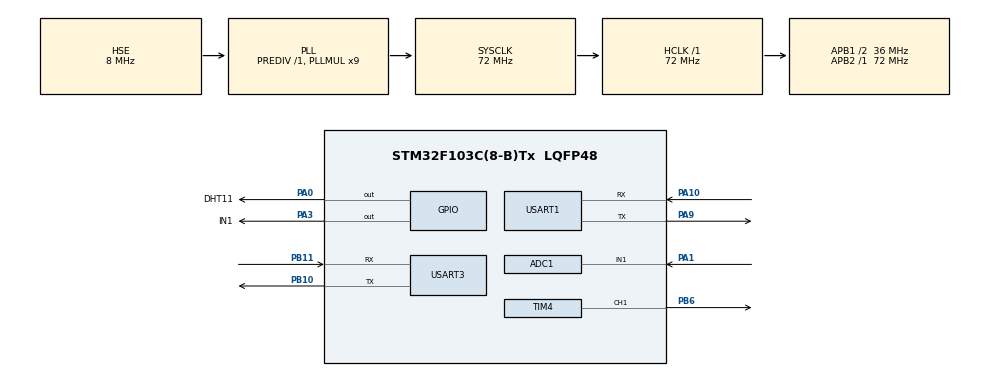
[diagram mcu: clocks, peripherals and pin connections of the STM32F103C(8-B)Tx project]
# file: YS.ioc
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ADC1.Channel-0\#ChannelRegularConversion=ADC_CHANNEL_1
ADC1.NbrOfConversionFlag=1
ADC1.Rank-0\#ChannelRegularConversion=1
ADC1.SamplingTime-0\#ChannelRegularConversion=ADC_SAMPLETIME_1CYCLE_5
ADC1.master=1
Mcu.Family=STM32F1
Mcu.Name=STM32F103C(8-B)Tx
Mcu.Package=LQFP48
NVIC.ADC1_2_IRQn=true\:0\:0\:false\:false\:true\:true\:true\:true
NVIC.PriorityGroup=NVIC_PRIORITYGROUP_4
NVIC.TIM4_IRQn=true\:0\:0\:false\:false\:true\:true\:true\:true
NVIC.USART3_IRQn=true\:0\:0\:false\:false\:true\:true\:true\:true
PA0-WKUP.GPIO_Label=DHT11
PA0-WKUP.Signal=GPIO_Output
PA1.Signal=ADCx_IN1
PA10.Mode=Asynchronous
PA10.Signal=USART1_RX
PA3.GPIO_Label=IN1
PA3.PinState=GPIO_PIN_SET
PA3.Signal=GPIO_Output
PA9.Mode=Asynchronous
PA9.Signal=USART1_TX
PB10.Mode=Asynchronous
PB10.Signal=USART3_TX
PB11.Mode=Asynchronous
PB11.Signal=USART3_RX
PB6.Signal=S_TIM4_CH1
PC14-OSC32_IN.Mode=LSE-External-Oscillator
PC14-OSC32_IN.Signal=RCC_OSC32_IN
PC15-OSC32_OUT.Mode=LSE-External-Oscillator
PC15-OSC32_OUT.Signal=RCC_OSC32_OUT
PD0-OSC_IN.Mode=HSE-External-Oscillator
PD0-OSC_IN.Signal=RCC_OSC_IN
PD1-OSC_OUT.Mode=HSE-External-Oscillator
PD1-OSC_OUT.Signal=RCC_OSC_OUT
ProjectManager.HeapSize=0x200
ProjectManager.StackSize=0x400
ProjectManager.TargetToolchain=MDK-ARM V5.32
RCC.ADCPresc=RCC_ADCPCLK2_DIV6
RCC.AHBFreq_Value=72000000
RCC.APB1CLKDivider=RCC_HCLK_DIV2
RCC.APB1Freq_Value=36000000
RCC.APB1TimFreq_Value=72000000
RCC.APB2Freq_Value=72000000
RCC.APB2TimFreq_Value=72000000
RCC.HCLKFreq_Value=72000000
RCC.PLLMUL=RCC_PLL_MUL9
RCC.PLLSourceVirtual=RCC_PLLSOURCE_HSE
RCC.SYSCLKFreq_VALUE=72000000
RCC.SYSCLKSource=RCC_SYSCLKSOURCE_PLLCLK
RCC.USBFreq_Value=72000000
SH.ADCx_IN1.0=ADC1_IN1,IN1
SH.S_TIM4_CH1.0=TIM4_CH1,PWM Generation1 CH1
TIM4.Channel-PWM\ Generation1\ CH1=TIM_CHANNEL_1
TIM4.CounterMode=TIM_COUNTERMODE_UP
TIM4.Period=1000-1
TIM4.Prescaler=72-1
USART1.VirtualMode=VM_ASYNC
USART3.VirtualMode=VM_ASYNC
VP_SYS_VS_ND.Mode=No_Debug
VP_TIM4_VS_ClockSourceINT.Mode=Internal
board=custom

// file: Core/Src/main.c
/* USER CODE BEGIN Header */
/**
  ******************************************************************************
  * @file           : main.c
  * @brief          : 智能家居系统 - OneNET 云平台
  *                   温度(temp) + 光照(light) + 风扇(fan_speed) + 警报器(alarm)
  ******************************************************************************
  */
/* USER CODE END Header */
#include "main.h"
#include "adc.h"
#include "tim.h"
#include "usart.h"
#include "gpio.h"

/* USER CODE BEGIN Includes */
#include <string.h>
#include <stdio.h>
#include <stdlib.h>
#include "dht11.h"
#include "onenet.h"
/* USER CODE END Includes */

/* USER CODE BEGIN PD */

/* WiFi 配置 */
#define WIFI_SSID       "abc"
#define WIFI_PASSWORD   "abc123456"

/* 温度阈值 */
#define TEMP_THRESHOLD  30.0f

/* 上报间隔 (毫秒) */
#define REPORT_INTERVAL 3000

/* DHT11 返回值 */
#define DHT11_OK    0
#define DHT11_ERROR 1

/* USER CODE END PD */

/* USER CODE BEGIN PV */

uint8_t usart3_rx_buffer[500];
uint16_t usart3_rx_index = 0;
uint8_t usart3_rx_done = 0;

/* 连接状态 */
typedef enum {
    STATE_AT_TEST,
    STATE_SET_MODE,
    STATE_WAIT_WIFI,
    STATE_MQTT_USER,
    STATE_MQTT_CONN,
    STATE_MQTT_SUB,
    STATE_READY
} ConnectState;

ConnectState current_state = STATE_AT_TEST;
uint32_t last_report_time = 0;
uint32_t last_resub_time = 0;
#define RESUB_INTERVAL  30000  /* 每30秒重新订阅一次 */

/* ==================== 传感器数据 (只读) ==================== */
float    temperature = 0.0f;      /* 温度 temp (°C) */
uint16_t light_value = 0;         /* 光照 light (Lux) */

/* ==================== 设备控制 (读写) ==================== */
int16_t  fan_speed = 0;           /* 风扇转速 fan_speed (0-1000 r/min) */
uint8_t  led_on = 0;              /* LED led (0=灭, 1=亮) */

/* 连接状态 */
uint8_t wifi_connected = 0;
uint8_t onenet_connected = 0;
uint8_t dht11_error = 0;

/* 多行MQTT消息暂存 (处理某些AT固件分两行下发) */
uint8_t  pending_set_payload = 0;
char     set_payload_buf[ONENET_JSON_BUF_SIZE];

/* USER CODE END PV */

void SystemClock_Config(void);
/* USER CODE BEGIN PFP */
void SendCmd(const char* cmd);
void CheckResponse(const char* resp);
void ReportAllData(void);
void ReadSensors(void);
void ControlFan(int16_t speed);
void ParseSetCommand(const char* resp);
uint16_t ReadLightSensor(void);
void ControlLedByLight(void);
/* USER CODE END PFP */

int main(void)
{

  /* MCU Configuration--------------------------------------------------------*/

  /* Reset of all peripherals, Initializes the Flash interface and the Systick. */
  HAL_Init();

  /* Configure the system clock */
  SystemClock_Config();

  /* Initialize all configured peripherals */
  MX_GPIO_Init();
  MX_TIM4_Init();
  MX_ADC1_Init();
  MX_USART3_UART_Init();
  MX_USART1_UART_Init();
  /* USER CODE BEGIN 2 */

  /* 启动 TIM4 PWM (风扇) */
  HAL_TIM_PWM_Start(&htim4, TIM_CHANNEL_1);

  /* 初始化 DHT11 */
  DHT11_Init();

  /* 初始状态：风扇关闭，LED 默认亮（高电平） */
  ControlFan(0);
  HAL_GPIO_WritePin(IN1_GPIO_Port, IN1_Pin, GPIO_PIN_SET);  /* PA3 输出高电平，LED 灭（低电平点亮） */

  const char* msg = "\r\n=== Smart Home (temp+light+fan+led) ===\r\n";
  HAL_UART_Transmit(&huart1, (uint8_t*)msg, strlen(msg), 100);

  /* 开始连接 OneNET */
  HAL_UART_Receive_IT(&huart3, usart3_rx_buffer, 1);
  SendCmd("AT\r\n");

  /* 首次读取传感器 */
  ReadSensors();

  /* USER CODE END 2 */

  /* Infinite loop */
  /* USER CODE BEGIN WHILE */
  while (1)
  {
    if (usart3_rx_done) {
        usart3_rx_done = 0;
        HAL_UART_Transmit(&huart1, (uint8_t*)usart3_rx_buffer, usart3_rx_index, 100);
        CheckResponse((const char*)usart3_rx_buffer);
        usart3_rx_index = 0;
    }

    if (current_state == STATE_READY) {
        /* 定期重新订阅 set 主题，防止订阅丢失 */
        if (HAL_GetTick() - last_resub_time >= RESUB_INTERVAL) {
            last_resub_time = HAL_GetTick();
            char sub_cmd[200];
            sprintf(sub_cmd, "AT+MQTTSUB=0,\"$sys/%s/%s/thing/property/set\",0\r\n", PRODUCT_ID, DEVICE_NAME);
            SendCmd(sub_cmd);
        }

        if (HAL_GetTick() - last_report_time >= REPORT_INTERVAL) {
            last_report_time = HAL_GetTick();
            ReadSensors();
            ControlLedByLight();  /* 根据光照自动控制 LED */
            ReportAllData();
        }
    }

    HAL_Delay(10);

    /* USER CODE END WHILE */

  }
}

void SystemClock_Config(void)
{
  RCC_OscInitTypeDef RCC_OscInitStruct = {0};
  RCC_ClkInitTypeDef RCC_ClkInitStruct = {0};
  RCC_PeriphCLKInitTypeDef PeriphClkInit = {0};

  /** Initializes the RCC Oscillators according to the specified parameters
  * in the RCC_OscInitTypeDef structure.
  */
  RCC_OscInitStruct.OscillatorType = RCC_OSCILLATORTYPE_HSE;
  RCC_OscInitStruct.HSEState = RCC_HSE_ON;
  RCC_OscInitStruct.HSEPredivValue = RCC_HSE_PREDIV_DIV1;
  RCC_OscInitStruct.HSIState = RCC_HSI_ON;
  RCC_OscInitStruct.PLL.PLLState = RCC_PLL_ON;
  RCC_OscInitStruct.PLL.PLLSource = RCC_PLLSOURCE_HSE;
  RCC_OscInitStruct.PLL.PLLMUL = RCC_PLL_MUL9;
  if (HAL_RCC_OscConfig(&RCC_OscInitStruct) != HAL_OK)
  {
    Error_Handler();
  }

  /** Initializes the CPU, AHB and APB buses clocks
  */
  RCC_ClkInitStruct.ClockType = RCC_CLOCKTYPE_HCLK|RCC_CLOCKTYPE_SYSCLK
                              |RCC_CLOCKTYPE_PCLK1|RCC_CLOCKTYPE_PCLK2;
  RCC_ClkInitStruct.SYSCLKSource = RCC_SYSCLKSOURCE_PLLCLK;
  RCC_ClkInitStruct.AHBCLKDivider = RCC_SYSCLK_DIV1;
  RCC_ClkInitStruct.APB1CLKDivider = RCC_HCLK_DIV2;
  RCC_ClkInitStruct.APB2CLKDivider = RCC_HCLK_DIV1;

  if (HAL_RCC_ClockConfig(&RCC_ClkInitStruct, FLASH_LATENCY_2) != HAL_OK)
  {
    Error_Handler();
  }
  PeriphClkInit.PeriphClockSelection = RCC_PERIPHCLK_ADC;
  PeriphClkInit.AdcClockSelection = RCC_ADCPCLK2_DIV6;
  if (HAL_RCCEx_PeriphCLKConfig(&PeriphClkInit) != HAL_OK)
  {
    Error_Handler();
  }
}

/* USER CODE BEGIN 4 */

/**
  * @brief  读取光照传感器 (PA1, ADC1_CH1)
  * @retval ADC值转换为 Lux (0-5000)
  */
uint16_t ReadLightSensor(void)
{
    HAL_ADC_Start(&hadc1);
    HAL_ADC_PollForConversion(&hadc1, 100);
    uint16_t adc_value = HAL_ADC_GetValue(&hadc1);
    HAL_ADC_Stop(&hadc1);

    /* 反转映射：ADC值越小，光照越强 (光敏电阻分压电路) */
    return (uint16_t)((uint32_t)(4095 - adc_value) * 5000 / 4095);
}

/**
  * @brief  发送AT指令到ESP8266
  */
void SendCmd(const char* cmd)
{
    HAL_UART_Transmit(&huart3, (uint8_t*)cmd, strlen(cmd), 100);
    HAL_UART_Transmit(&huart1, (uint8_t*)cmd, strlen(cmd), 100);
}

/**
  * @brief  检查AT响应并处理状态机
  */
void CheckResponse(const char* resp)
{
    if (current_state == STATE_AT_TEST && strstr(resp, "OK") != NULL) {
        current_state = STATE_SET_MODE;
        SendCmd("AT+CWMODE=1\r\n");
        return;
    }

    if (current_state == STATE_SET_MODE && strstr(resp, "OK") != NULL) {
        current_state = STATE_WAIT_WIFI;
        char wifi_cmd[100];
        sprintf(wifi_cmd, "AT+CWJAP=\"%s\",\"%s\"\r\n", WIFI_SSID, WIFI_PASSWORD);
        SendCmd(wifi_cmd);
        return;
    }

    if (current_state == STATE_WAIT_WIFI) {
        if (strstr(resp, "WIFI CONNECTED") != NULL || strstr(resp, "GOT IP") != NULL) {
            wifi_connected = 1;
            const char* succ = "\r\n[INFO] WiFi connected\r\n";
            HAL_UART_Transmit(&huart1, (uint8_t*)succ, strlen(succ), 100);
            current_state = STATE_MQTT_USER;
            /* scheme=1 表示 MQTT over TCP，使用 1883 端口 */
            SendCmd("AT+MQTTUSERCFG=0,1,\"" DEVICE_NAME "\",\"" PRODUCT_ID "\",\"" MQTT_TOKEN "\",0,0,\"\"\r\n");
        }
        return;
    }

    if (current_state == STATE_MQTT_USER && strstr(resp, "OK") != NULL) {
        current_state = STATE_MQTT_CONN;
        char mqtt_cmd[150];
        sprintf(mqtt_cmd, "AT+MQTTCONN=0,\"%s\",%d,1\r\n", MQTT_SERVER, MQTT_PORT);
        SendCmd(mqtt_cmd);
        return;
    }

    if (current_state == STATE_MQTT_CONN && strstr(resp, "CONNECT") != NULL) {
        onenet_connected = 1;
        current_state = STATE_MQTT_SUB;

        /* 订阅属性设置主题 */
        char sub_cmd[200];
        sprintf(sub_cmd, "AT+MQTTSUB=0,\"$sys/%s/%s/thing/property/set\",0\r\n", PRODUCT_ID, DEVICE_NAME);
        SendCmd(sub_cmd);
        HAL_Delay(500);

        /* 订阅上报回复主题 (用于确认平台是否收到) */
        sprintf(sub_cmd, "AT+MQTTSUB=0,\"$sys/%s/%s/thing/property/post/reply\",0\r\n", PRODUCT_ID, DEVICE_NAME);
        SendCmd(sub_cmd);

        return;
    }

    if (current_state == STATE_MQTT_SUB && strstr(resp, "OK") != NULL) {
        current_state = STATE_READY;
        last_report_time = HAL_GetTick();

        const char* succ = "\r\n=== OneNET Ready! ===\r\n";
        HAL_UART_Transmit(&huart1, (uint8_t*)succ, strlen(succ), 100);

        /* 打印配置信息 */
        char config_msg[300];
        sprintf(config_msg, "[CONFIG] Server: %s:%d\r\n[CONFIG] Product: %s\r\n[CONFIG] Device: %s\r\n",
                MQTT_SERVER, MQTT_PORT, PRODUCT_ID, DEVICE_NAME);
        HAL_UART_Transmit(&huart1, (uint8_t*)config_msg, strlen(config_msg), 100);

        return;
    }

    /* 处理云端下发指令 (只处理set消息，忽略set_reply) */
    if (strstr(resp, "thing/property/set") != NULL && strstr(resp, "set_reply") == NULL) {
        /* 单行格式：+MQTTPUBRECV:0,"topic",len,{...} — 包含JSON负载 */
        if (strstr(resp, "{") != NULL) {
            ParseSetCommand(resp);
        } else {
            /* 多行格式：+MQTTPUBRECV:0,"topic",len\n
                         {...}                          — 负载在下一行 */
            pending_set_payload = 1;
            set_payload_buf[0] = '\0';
        }
        return;
    }

    /* 处理多行MQTT消息的下一行（纯JSON负载行） */
    if (pending_set_payload && resp[0] == '{') {
        pending_set_payload = 0;
        strncpy(set_payload_buf, resp, sizeof(set_payload_buf) - 1);
        set_payload_buf[sizeof(set_payload_buf) - 1] = '\0';
        ParseSetCommand(set_payload_buf);
        return;
    }

    /* 打印收到的 MQTT 消息 (调试用) */
    if (strstr(resp, "MQTTPUBRECV") != NULL || strstr(resp, "post/reply") != NULL) {
        char debug_msg[200];
        sprintf(debug_msg, "\r\n[MQTT RECV] %s\r\n", resp);
        HAL_UART_Transmit(&huart1, (uint8_t*)debug_msg, strlen(debug_msg), 100);
    }
}

/**
  * @brief  解析云端下发的控制指令
  *
  * 属性说明：
  *   fan_speed : 0-1000 r/min (步长10)
  *   alarm     : 0=关, 1=开
  */
void ParseSetCommand(const char* resp)
{
    char log_msg[200];
    sprintf(log_msg, "\r\n[DEBUG] Received: %s\r\n", resp);
    HAL_UART_Transmit(&huart1, (uint8_t*)log_msg, strlen(log_msg), 100);

    /* 提取原始 id — OneNET 要求 set_reply 的 id 必须与 set 请求一致 */
    char msg_id[32] = "0";
    const char *id_ptr = strstr(resp, "\"id\"");
    if (id_ptr) {
        /* 跳过 "id":" 或 "id": " */
        const char *val_start = strchr(id_ptr + 4, '"');
        if (val_start) {
            val_start++;  /* 跳过前引号 */
            const char *val_end = strchr(val_start, '"');
            if (val_end && (val_end - val_start) < (int)sizeof(msg_id) - 1) {
                strncpy(msg_id, val_start, val_end - val_start);
                msg_id[val_end - val_start] = '\0';
            }
        }
    }

    char id_log[60];
    sprintf(id_log, "\r\n[ID] %s\r\n", msg_id);
    HAL_UART_Transmit(&huart1, (uint8_t*)id_log, strlen(id_log), 100);

    /* 解析风扇转速 - OneNET set 格式: "fan_speed":500 */
    if (strstr(resp, "\"fan_speed\"") != NULL) {
        char *ptr = strstr(resp, "\"fan_speed\":");
        if (ptr) {
            ptr += 12;  /* 跳过 "fan_speed": */
            int16_t speed = atoi(ptr);
            /* 限制范围 0-1000，步长10 */
            if (speed < 0) speed = 0;
            if (speed > 1000) speed = 1000;
            speed = (speed / 10) * 10;  /* 对齐步长 */

            char cmd_log[60];
            sprintf(cmd_log, "\r\n[PARSE] fan_speed = %d\r\n", speed);
            HAL_UART_Transmit(&huart1, (uint8_t*)cmd_log, strlen(cmd_log), 100);

            ControlFan(speed);
        }
    }

    /* LED 由光照自动控制，无需手动解析 */

    /* 发送回复 — 使用原始 msg_id */
    char reply[128];
    sprintf(reply, "{\"id\":\"%s\",\"code\":200,\"msg\":\"success\"}", msg_id);

    char cmd_buf[256];
    sprintf(cmd_buf, "AT+MQTTPUBRAW=0,\"$sys/%s/%s/thing/property/set_reply\",%d,0,0\r\n",
            PRODUCT_ID, DEVICE_NAME, strlen(reply));

    HAL_UART_Transmit(&huart3, (uint8_t*)cmd_buf, strlen(cmd_buf), 100);
    HAL_Delay(100);
    HAL_UART_Transmit(&huart3, (uint8_t*)reply, strlen(reply), 200);
    HAL_UART_Transmit(&huart3, (uint8_t*)"\r\n", 2, 100);
}

/**
  * @brief  读取所有传感器
  */
void ReadSensors(void)
{
    /* 1. 读取 DHT11 温度（带小数） */
    float temp, humi;
    if (DHT11_Read_Data(&temp, &humi) == DHT11_OK) {
        dht11_error = 0;
        temperature = temp;
        char debug_buf[60];
        sprintf(debug_buf, "\r\n[DHT11] Temp=%.1f C\r\n", temperature);
        HAL_UART_Transmit(&huart1, (uint8_t*)debug_buf, strlen(debug_buf), 100);
    } else {
        dht11_error = 1;
        char err_msg[] = "\r\n[WARN] DHT11 read failed!\r\n";
        HAL_UART_Transmit(&huart1, (uint8_t*)err_msg, strlen(err_msg), 100);
    }

    /* 2. 读取光照传感器 */
    light_value = ReadLightSensor();
    char light_buf[40];
    sprintf(light_buf, "[LIGHT] %d Lux\r\n", light_value);
    HAL_UART_Transmit(&huart1, (uint8_t*)light_buf, strlen(light_buf), 100);
}

/**
  * @brief  控制风扇转速 (PWM)
  * @param  speed: 0-1000 r/min
  */
void ControlFan(int16_t speed)
{
    fan_speed = speed;

    if (speed == 0) {
        /* 关闭 PWM 输出，强制拉低 PB6 */
        HAL_TIM_PWM_Stop(&htim4, TIM_CHANNEL_1);
        HAL_GPIO_WritePin(GPIOB, GPIO_PIN_6, GPIO_PIN_RESET);
    } else {
        /* 确保 PWM 已启动 */
        HAL_TIM_PWM_Start(&htim4, TIM_CHANNEL_1);
        /* 将 0-1000 映射到 PWM 占空比 0-100% */
        uint32_t pulse = (uint32_t)speed * htim4.Init.Period / 1000;
        __HAL_TIM_SET_COMPARE(&htim4, TIM_CHANNEL_1, pulse);
    }

    char log_msg[60];
    sprintf(log_msg, "\r\n[CMD] Fan speed: %d r/min\r\n", speed);
    HAL_UART_Transmit(&huart1, (uint8_t*)log_msg, strlen(log_msg), 100);
}

/**
  * @brief  根据光照强度自动控制 LED (PA3，低电平点亮)
  *         光照 < 1000 Lux → LED 亮 (低电平)
  *         光照 >= 1000 Lux → LED 灭 (高电平)
  */
void ControlLedByLight(void)
{
    if (light_value < 1000) {
        HAL_GPIO_WritePin(IN1_GPIO_Port, IN1_Pin, GPIO_PIN_RESET);  /* LED 亮 (低电平) */
        led_on = 1;
    } else {
        HAL_GPIO_WritePin(IN1_GPIO_Port, IN1_Pin, GPIO_PIN_SET);    /* LED 灭 (高电平) */
        led_on = 0;
    }
}

/**
  * @brief  发送 MQTT 数据到 ESP8266
  * @param  topic: MQTT 主题
  * @param  payload: JSON 数据
  */
static void MQTT_Publish(const char* topic, const char* payload)
{
    char cmd_buf[256];
    uint16_t payload_len = strlen(payload);

    /* 构建 AT+MQTTPUBRAW 命令 */
    sprintf(cmd_buf, "AT+MQTTPUBRAW=0,\"%s\",%d,0,0\r\n", topic, payload_len);

    /* 先处理缓冲区中已有的数据（可能是控制指令） */
    if (usart3_rx_done) {
        CheckResponse((const char*)usart3_rx_buffer);
        usart3_rx_index = 0;
        usart3_rx_done = 0;
    }

    /* 仅在没有待处理数据时清空缓冲区 */
    usart3_rx_index = 0;
    usart3_rx_done = 0;

    /* 发送 AT 命令 */
    HAL_UART_Transmit(&huart3, (uint8_t*)cmd_buf, strlen(cmd_buf), 100);

    /* 等待 ESP8266 准备接收数据 */
    HAL_Delay(100);

    /* 发送 JSON 数据 */
    HAL_UART_Transmit(&huart3, (uint8_t*)payload, payload_len, 1000);

    /* 等待 ESP8266 处理完成 */
    HAL_Delay(100);

    /* 发布后检查是否有收到的 MQTT 消息 */
    if (usart3_rx_done) {
        CheckResponse((const char*)usart3_rx_buffer);
        usart3_rx_index = 0;
        usart3_rx_done = 0;
    }

    /* 打印发送的数据到调试串口 */
    HAL_UART_Transmit(&huart1, (uint8_t*)"[SEND] ", 7, 100);
    HAL_UART_Transmit(&huart1, (uint8_t*)payload, payload_len, 100);
    HAL_UART_Transmit(&huart1, (uint8_t*)"\r\n", 2, 100);
}

/**
  * @brief  上报所有数据到 OneNET
  *
  * 上报属性：
  *   temp      : float, 温度 (°C)
  *   light     : int32, 光照 (Lux)
  *   fan_speed : int32, 风扇转速 (r/min)
  *   alarm     : int32, 警报器 (0=关, 1=开)
  */
void ReportAllData(void)
{
    char json_data[500];
    char topic[128];

    /* 构建 JSON 数据 */
    /* 所有属性步长=1，直接上报整数
     * temp 步长=0.1 → 保留一位小数
     */
    sprintf(json_data,
        "{\"id\":\"%lu\",\"params\":{"
        "\"temp\":{\"value\":%.1f},"
        "\"light\":{\"value\":%d},"
        "\"fan_speed\":{\"value\":%d},"
        "\"led\":{\"value\":%d}}}",
        HAL_GetTick(),
        temperature,
        light_value,
        fan_speed,
        led_on);

    /* 构建主题 */
    sprintf(topic, "$sys/%s/%s/thing/property/post", PRODUCT_ID, DEVICE_NAME);

    /* 发送数据 */
    MQTT_Publish(topic, json_data);

    /* 打印日志 */
    char log_msg[200];
    sprintf(log_msg, "\r\n[UPLOAD] T=%.1fC Light=%dLux Fan=%d LED=%d\r\n",
            temperature, light_value, fan_speed, led_on);
    HAL_UART_Transmit(&huart1, (uint8_t*)log_msg, strlen(log_msg), 100);
}

/**
  * @brief  UART接收回调
  */
void HAL_UART_RxCpltCallback(UART_HandleTypeDef *huart)
{
    if (huart->Instance == USART3) {
        uint8_t data = usart3_rx_buffer[0];
        if (usart3_rx_index < sizeof(usart3_rx_buffer) - 1) {
            usart3_rx_buffer[usart3_rx_index++] = data;
            if (data == '\n') {
                usart3_rx_buffer[usart3_rx_index] = '\0';
                usart3_rx_done = 1;
            }
        }
        HAL_UART_Receive_IT(&huart3, usart3_rx_buffer, 1);
    }
}

/* USER CODE END 4 */

void Error_Handler(void)
{
  __disable_irq();
  while (1)
  {
  }
}
